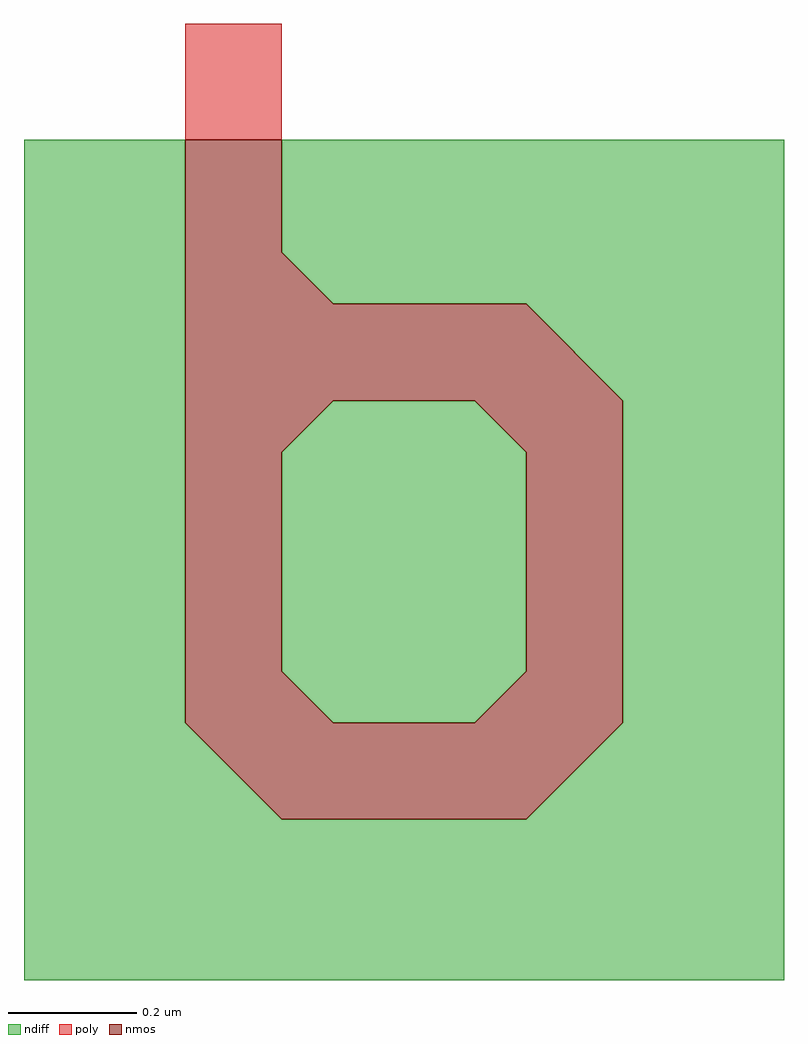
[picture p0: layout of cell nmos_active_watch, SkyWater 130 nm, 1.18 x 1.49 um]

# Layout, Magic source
magic
tech sky130A
magscale 1 2
<< nmos >>
rect 55 222 85 273
tri 85 222 101 238 sw
rect 55 192 161 222
tri 161 192 191 222 sw
rect 55 92 85 192
tri 85 176 101 192 nw
tri 145 176 161 192 ne
tri 85 92 101 108 sw
tri 145 92 161 108 se
rect 161 92 191 192
tri 55 62 85 92 ne
rect 85 62 161 92
tri 161 62 191 92 nw
<< ndiff >>
rect 5 62 55 273
rect 85 238 241 273
tri 85 222 101 238 ne
rect 101 222 241 238
tri 161 192 191 222 ne
tri 85 176 101 192 se
rect 101 176 145 192
tri 145 176 161 192 sw
rect 85 108 161 176
tri 85 92 101 108 ne
rect 101 92 145 108
tri 145 92 161 108 nw
tri 55 62 85 92 sw
tri 161 62 191 92 se
rect 191 62 241 222
rect 5 12 241 62
<< poly >>
rect 55 273 85 309
<< end >>
